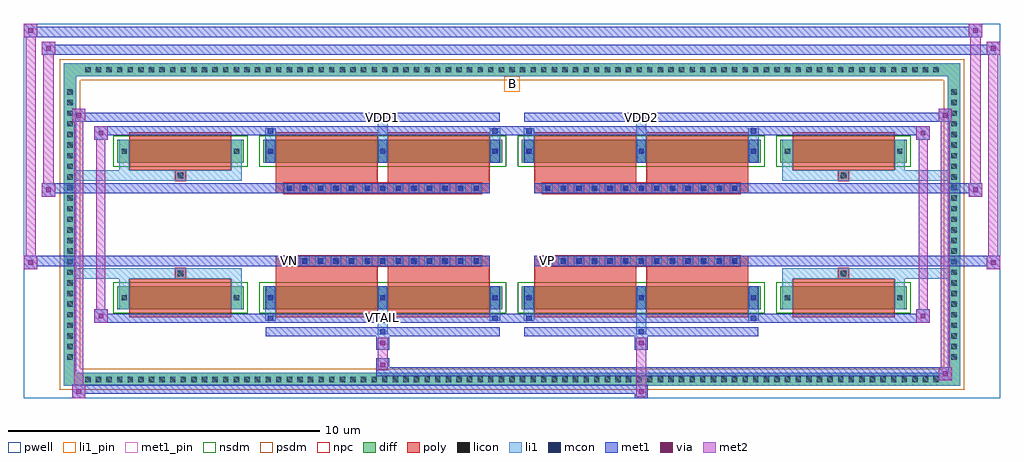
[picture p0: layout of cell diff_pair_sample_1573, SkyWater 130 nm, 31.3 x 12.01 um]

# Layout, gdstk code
import gdstk
lib = gdstk.Library(unit=1e-6, precision=5e-09)
def R(c, l, rs):  # rectangles x0, y0, x1, y1
    for r in rs: c.add(gdstk.rectangle(r[:2], r[2:], *l))
def A(c, l, x, y, w, h, nx, ny, dx, dy):  # array of equal rectangles
    R(c, l, [(x+i*dx, y+j*dy, x+i*dx+w, y+j*dy+h) for i in range(nx) for j in range(ny)])
def P(c, l, *ps):  # polygons
    for p in ps: c.add(gdstk.Polygon(p, *l))
pwell = (64, 44)
diff = (65, 20)
poly = (66, 20)
licon = (66, 44)
li1_pin = (67, 16)
li1 = (67, 20)
mcon = (67, 44)
met1_pin = (68, 16)
met1 = (68, 20)
via = (68, 44)
met2 = (69, 20)
nsdm = (93, 44)
psdm = (94, 20)
npc = (95, 20)

diff_pair_sample_1573 = lib.new_cell('diff_pair_sample_1573')
R(diff_pair_sample_1573, pwell, [(-15.65,-5.57,15.65,6.44), (-12.97,-3.76,-0.01,-0.8), (0.01,-3.76,12.97,-0.8), (-12.97,0.8,-0.01,3.76), (0.01,0.8,12.97,3.76)])
A(diff_pair_sample_1573, diff, -13.805, -5.17, 0.41, 0.41, 81, 2, 0.34, 9.93)
A(diff_pair_sample_1573, diff, -14.38, -4.455, 0.41, 0.41, 1, 26, 0, 0.34)
A(diff_pair_sample_1573, diff, 13.97, -4.455, 0.41, 0.41, 1, 26, 0, 0.34)
R(diff_pair_sample_1573, diff, [(-13.805,-5.17,13.805,-4.76), (-14.38,-4.455,-13.97,4.455), (13.97,-4.455,14.38,4.455), (-12.66,-2.715,-8.61,-1.985), (-7.97,-2.715,-0.32,-1.985), (0.32,-2.715,7.97,-1.985), (8.61,-2.715,12.66,-1.985), (-12.66,1.985,-8.61,2.715), (-7.97,1.985,-0.32,2.715), (0.32,1.985,7.97,2.715), (8.61,1.985,12.66,2.715), (-13.805,4.76,13.805,5.17)])
P(diff_pair_sample_1573, diff, [(14.38,5.17),(-14.38,5.17),(-14.38,-4.76),(-13.97,-4.76),(-13.97,4.76),(13.97,4.76),(13.97,-4.76),(-13.97,-4.76),(-14.38,-4.76),(-14.38,-5.17),(14.38,-5.17)])
A(diff_pair_sample_1573, poly, -7.31, -1.33, 0.33, 0.33, 13, 2, 0.5, 2.33)
A(diff_pair_sample_1573, poly, 0.98, -1.33, 0.33, 0.33, 13, 2, 0.5, 2.33)
R(diff_pair_sample_1573, poly, [(-12.27,-2.965,-9,-1.735), (-7.58,-2.965,-4.31,-1.735), (-3.98,-2.965,-0.71,-1.735), (0.71,-2.965,3.98,-1.735), (4.31,-2.965,7.58,-1.735), (9,-2.965,12.27,-1.735), (-10.8,-1.735,-10.47,-1.405), (-10.8,-1.735,-10.47,-1.405), (-7.58,-1.735,-4.31,-1.33), (-3.98,-1.735,-0.71,-1.33), (0.71,-1.735,3.98,-1.33), (4.31,-1.735,7.58,-1.33), (10.47,-1.735,10.8,-1.405), (10.47,-1.735,10.8,-1.405), (-7.58,-1.33,-0.71,-1), (0.71,-1.33,7.58,-1), (-7.58,1,-0.71,1.33), (0.71,1,7.58,1.33), (-7.58,1.33,-4.31,1.735), (-3.98,1.33,-0.71,1.735), (0.71,1.33,3.98,1.735), (4.31,1.33,7.58,1.735), (-10.8,1.405,-10.47,1.735), (-10.8,1.405,-10.47,1.735), (10.47,1.405,10.8,1.735), (10.47,1.405,10.8,1.735), (-12.27,1.735,-9,2.965), (-7.58,1.735,-4.31,2.965), (-3.98,1.735,-0.71,2.965), (0.71,1.735,3.98,2.965), (4.31,1.735,7.58,2.965), (9,1.735,12.27,2.965)])
A(diff_pair_sample_1573, licon, -13.685, -5.05, 0.17, 0.17, 81, 2, 0.34, 9.93)
A(diff_pair_sample_1573, licon, -14.26, -4.335, 0.17, 0.17, 1, 26, 0, 0.34)
A(diff_pair_sample_1573, licon, 14.09, -4.335, 0.17, 0.17, 1, 26, 0, 0.34)
A(diff_pair_sample_1573, licon, -7.83, -2.435, 0.17, 0.17, 3, 2, 3.6, 4.7)
A(diff_pair_sample_1573, licon, 0.46, -2.435, 0.17, 0.17, 3, 2, 3.6, 4.7)
A(diff_pair_sample_1573, licon, -7.23, -1.25, 0.17, 0.17, 13, 2, 0.5, 2.33)
A(diff_pair_sample_1573, licon, 1.06, -1.25, 0.17, 0.17, 13, 2, 0.5, 2.33)
R(diff_pair_sample_1573, licon, [(-12.52,-2.435,-12.35,-2.265), (-8.92,-2.435,-8.75,-2.265), (8.75,-2.435,8.92,-2.265), (12.35,-2.435,12.52,-2.265), (-10.72,-1.655,-10.55,-1.485), (10.55,-1.655,10.72,-1.485), (-10.72,1.485,-10.55,1.655), (10.55,1.485,10.72,1.655), (-12.52,2.265,-12.35,2.435), (-8.92,2.265,-8.75,2.435), (8.75,2.265,8.92,2.435), (12.35,2.265,12.52,2.435)])
R(diff_pair_sample_1573, li1_pin, [(-0.25,4.26,0.25,4.76)])
A(diff_pair_sample_1573, li1, -13.765, -5.13, 0.33, 0.33, 81, 2, 0.34, 9.93)
A(diff_pair_sample_1573, li1, -14.34, -4.415, 0.33, 0.33, 1, 26, 0, 0.34)
A(diff_pair_sample_1573, li1, 14.01, -4.415, 0.33, 0.33, 1, 26, 0, 0.34)
A(diff_pair_sample_1573, li1, -7.91, -2.715, 0.33, 0.73, 3, 2, 3.6, 4.7)
A(diff_pair_sample_1573, li1, 0.38, -2.715, 0.33, 0.73, 3, 2, 3.6, 4.7)
A(diff_pair_sample_1573, li1, -7.91, -2.515, 0.33, 0.33, 3, 2, 3.6, 4.7)
A(diff_pair_sample_1573, li1, 0.38, -2.515, 0.33, 0.33, 3, 2, 3.6, 4.7)
A(diff_pair_sample_1573, li1, -7.31, -1.33, 0.33, 0.33, 13, 2, 0.5, 2.33)
A(diff_pair_sample_1573, li1, 0.98, -1.33, 0.33, 0.33, 13, 2, 0.5, 2.33)
R(diff_pair_sample_1573, li1, [(-14.38,-5.17,-13.97,-4.76), (-14.38,-5.17,-13.97,-4.76), (-13.97,-5.17,13.97,-4.76), (13.97,-5.17,14.38,-4.76), (13.97,-5.17,14.38,-4.76), (-14.38,-4.76,-13.97,4.76), (13.97,-4.76,14.38,4.76), (-4.31,-3.52,-3.98,-2.715), (-4.23,-3.52,-4.06,-3.35), (3.98,-3.52,4.31,-2.715), (4.06,-3.52,4.23,-3.35), (-7.91,-3.09,-7.58,-2.715), (-7.83,-3.09,-7.66,-2.92), (-0.71,-3.09,-0.38,-2.715), (-0.63,-3.09,-0.46,-2.92), (0.38,-3.09,0.71,-2.715), (0.46,-3.09,0.63,-2.92), (7.58,-3.09,7.91,-2.715), (7.66,-3.09,7.83,-2.92), (-12.6,-2.715,-12.27,-1.985), (-9,-2.715,-8.67,-1.985), (8.67,-2.715,9,-1.985), (12.27,-2.715,12.6,-1.985), (-12.6,-2.515,-12.27,-2.185), (-9,-2.515,-8.67,-2.185), (8.67,-2.515,9,-2.185), (12.27,-2.515,12.6,-2.185), (-7.83,-2.435,-7.66,-2.265), (-7.83,-2.435,-7.66,-2.265), (-4.23,-2.435,-4.06,-2.265), (-4.23,-2.435,-4.06,-2.265), (-0.63,-2.435,-0.46,-2.265), (-0.63,-2.435,-0.46,-2.265), (0.46,-2.435,0.63,-2.265), (0.46,-2.435,0.63,-2.265), (4.06,-2.435,4.23,-2.265), (4.06,-2.435,4.23,-2.265), (7.66,-2.435,7.83,-2.265), (7.66,-2.435,7.83,-2.265), (-12.6,-1.985,-12.27,-1.405), (-9,-1.985,-8.67,-1.405), (8.67,-1.985,9,-1.405), (12.27,-1.985,12.6,-1.405), (-14.38,-1.735,-10.8,-1.405), (-12.6,-1.735,-10.8,-1.405), (-10.8,-1.735,-10.47,-1.405), (-10.47,-1.735,-8.67,-1.405), (8.67,-1.735,10.47,-1.405), (10.47,-1.735,10.8,-1.405), (10.47,-1.735,14.38,-1.405), (10.8,-1.735,12.6,-1.405), (-14.38,1.405,-10.8,1.735), (-12.6,1.405,-10.8,1.735), (-12.6,1.405,-12.27,1.985), (-10.8,1.405,-10.47,1.735), (-10.47,1.405,-8.67,1.735), (-9,1.405,-8.67,1.985), (8.67,1.405,10.47,1.735), (8.67,1.405,9,1.985), (10.47,1.405,10.8,1.735), (10.47,1.405,14.38,1.735), (10.8,1.405,12.6,1.735), (12.27,1.405,12.6,1.985), (-12.6,1.985,-12.27,2.715), (-9,1.985,-8.67,2.715), (8.67,1.985,9,2.715), (12.27,1.985,12.6,2.715), (-12.6,2.185,-12.27,2.515), (-9,2.185,-8.67,2.515), (8.67,2.185,9,2.515), (12.27,2.185,12.6,2.515), (-7.83,2.265,-7.66,2.435), (-7.83,2.265,-7.66,2.435), (-4.23,2.265,-4.06,2.435), (-4.23,2.265,-4.06,2.435), (-0.63,2.265,-0.46,2.435), (-0.63,2.265,-0.46,2.435), (0.46,2.265,0.63,2.435), (0.46,2.265,0.63,2.435), (4.06,2.265,4.23,2.435), (4.06,2.265,4.23,2.435), (7.66,2.265,7.83,2.435), (7.66,2.265,7.83,2.435), (-7.91,2.715,-7.58,3.09), (-4.31,2.715,-3.98,3.52), (-0.71,2.715,-0.38,3.09), (0.38,2.715,0.71,3.09), (3.98,2.715,4.31,3.52), (7.58,2.715,7.91,3.09), (-7.83,2.92,-7.66,3.09), (-0.63,2.92,-0.46,3.09), (0.46,2.92,0.63,3.09), (7.66,2.92,7.83,3.09), (-4.23,3.35,-4.06,3.52), (4.06,3.35,4.23,3.52), (-14.38,4.76,-13.97,5.17), (-14.38,4.76,-13.97,5.17), (-13.97,4.76,13.97,5.17), (13.97,4.76,14.38,5.17), (13.97,4.76,14.38,5.17)])
A(diff_pair_sample_1573, mcon, -7.83, -2.435, 0.17, 0.17, 3, 2, 3.6, 4.7)
A(diff_pair_sample_1573, mcon, 0.46, -2.435, 0.17, 0.17, 3, 2, 3.6, 4.7)
A(diff_pair_sample_1573, mcon, -7.23, -1.25, 0.17, 0.17, 13, 2, 0.5, 2.33)
A(diff_pair_sample_1573, mcon, 1.06, -1.25, 0.17, 0.17, 13, 2, 0.5, 2.33)
R(diff_pair_sample_1573, mcon, [(-4.23,-3.52,-4.06,-3.35), (4.06,-3.52,4.23,-3.35), (-7.83,-3.09,-7.66,-2.92), (-0.63,-3.09,-0.46,-2.92), (0.46,-3.09,0.63,-2.92), (7.66,-3.09,7.83,-2.92), (-7.83,2.92,-7.66,3.09), (-0.63,2.92,-0.46,3.09), (0.46,2.92,0.63,3.09), (7.66,2.92,7.83,3.09), (-4.23,3.35,-4.06,3.52), (4.06,3.35,4.23,3.52)])
R(diff_pair_sample_1573, met1_pin, [(-4.28,-3.13,-4.01,-2.86), (-7.28,-1.29,-7.01,-1.02), (1.01,-1.29,1.28,-1.02), (-4.28,3.31,-4.01,3.58), (4.01,3.31,4.28,3.58)])
A(diff_pair_sample_1573, met1, -7.89, -2.715, 0.29, 0.73, 3, 2, 3.6, 4.7)
A(diff_pair_sample_1573, met1, 0.4, -2.715, 0.29, 0.73, 3, 2, 3.6, 4.7)
A(diff_pair_sample_1573, met1, -7.89, -2.495, 0.29, 0.29, 3, 2, 3.6, 4.7)
A(diff_pair_sample_1573, met1, 0.4, -2.495, 0.29, 0.29, 3, 2, 3.6, 4.7)
A(diff_pair_sample_1573, met1, -7.29, -1.31, 0.29, 0.29, 13, 2, 0.5, 2.33)
A(diff_pair_sample_1573, met1, 1, -1.31, 0.29, 0.29, 13, 2, 0.5, 2.33)
R(diff_pair_sample_1573, met1, [(-14.11,-5.57,-13.68,-5.14), (3.93,-5.57,4.36,-5.14), (-14.11,-5.43,4.36,-5.14), (13.68,-5,14.11,-4.57), (-4.36,-4.86,14.11,-4.57), (-4.36,-4.72,-3.93,-4.29), (-4.36,-4.01,-3.93,-3.58), (3.93,-4.01,4.36,-3.58), (-7.89,-3.58,-0.4,-3.29), (-4.29,-3.58,-4,-3.29), (0.4,-3.58,7.89,-3.29), (4,-3.58,4.29,-3.29), (-13.4,-3.15,-12.97,-2.72), (-13.4,-3.15,-7.89,-2.86), (-7.89,-3.15,-7.6,-2.86), (-7.89,-3.15,-0.4,-2.86), (-0.69,-3.15,-0.4,-2.86), (-0.4,-3.15,0.4,-2.86), (0.4,-3.15,0.69,-2.86), (0.4,-3.15,7.89,-2.86), (7.6,-3.15,7.89,-2.86), (7.89,-3.15,13.4,-2.86), (12.97,-3.15,13.4,-2.72), (-15.65,-1.43,-15.22,-1), (15.22,-1.43,15.65,-1), (-15.65,-1.33,-0.71,-1), (-7.58,-1.33,-0.71,-1), (0.71,-1.33,7.58,-1), (0.71,-1.33,15.65,-1), (-15.08,0.9,-14.65,1.33), (14.65,0.9,15.08,1.33), (-15.08,1,-7.58,1.33), (-7.58,1,-0.71,1.33), (0.71,1,7.58,1.33), (7.58,1,15.08,1.33), (-13.4,2.72,-12.97,3.15), (12.97,2.72,13.4,3.15), (-13.4,2.86,-7.89,3.15), (-7.89,2.86,-7.6,3.15), (-7.89,2.86,-0.4,3.15), (-0.69,2.86,-0.4,3.15), (-0.4,2.86,0.4,3.15), (0.4,2.86,0.69,3.15), (0.4,2.86,7.89,3.15), (7.6,2.86,7.89,3.15), (7.89,2.86,13.4,3.15), (-14.11,3.29,-13.68,3.72), (-14.11,3.29,-7.89,3.58), (-7.89,3.29,-0.4,3.58), (-4.29,3.29,-4,3.58), (0.4,3.29,7.89,3.58), (4,3.29,4.29,3.58), (7.89,3.29,14.11,3.58), (13.68,3.29,14.11,3.72), (-15.08,5.44,-14.65,5.87), (-15.08,5.44,-12.97,5.77), (-12.97,5.44,12.97,5.77), (12.97,5.44,15.65,5.77), (15.22,5.44,15.65,5.87), (-15.65,6.01,-15.22,6.44), (-15.65,6.01,-12.97,6.34), (-12.97,6.01,12.97,6.34), (12.97,6.01,15.08,6.34), (14.65,6.01,15.08,6.44)])
R(diff_pair_sample_1573, via, [(-13.97,-5.43,-13.82,-5.28), (4.07,-5.43,4.22,-5.28), (13.82,-4.86,13.97,-4.71), (-4.22,-4.58,-4.07,-4.43), (-4.22,-3.87,-4.07,-3.72), (4.07,-3.87,4.22,-3.72), (-13.26,-3.01,-13.11,-2.86), (13.11,-3.01,13.26,-2.86), (-15.51,-1.29,-15.36,-1.14), (15.36,-1.29,15.51,-1.14), (-14.94,1.04,-14.79,1.19), (14.79,1.04,14.94,1.19), (-13.26,2.86,-13.11,3.01), (13.11,2.86,13.26,3.01), (-13.97,3.43,-13.82,3.58), (13.82,3.43,13.97,3.58), (-14.94,5.58,-14.79,5.73), (15.36,5.58,15.51,5.73), (-15.51,6.15,-15.36,6.3), (14.79,6.15,14.94,6.3)])
R(diff_pair_sample_1573, met2, [(-14.11,-5.57,-13.68,-5.14), (-14.04,-5.57,-13.75,3.72), (-13.75,-5.57,-13.68,-5.14), (-14.06,-5.52,-13.73,-5.19), (3.98,-5.52,4.31,-5.19), (3.98,-5.19,4.31,-3.96), (13.68,-5,14.11,-4.57), (13.75,-5,14.04,3.72), (14.04,-5,14.11,-4.57), (13.73,-4.95,14.06,-4.62), (-4.31,-4.67,-3.98,-4.34), (-4.31,-4.34,-3.98,-3.96), (-4.31,-3.96,-3.98,-3.63), (3.98,-3.96,4.31,-3.63), (-13.4,-3.15,-12.97,-2.72), (-13.33,-3.15,-13.04,3.15), (-13.04,-3.15,-12.97,-2.72), (12.97,-3.15,13.4,-2.72), (13.04,-3.15,13.33,3.15), (13.33,-3.15,13.4,-2.72), (-13.35,-3.1,-13.02,-2.77), (13.02,-3.1,13.35,-2.77), (-15.65,-1.43,-15.22,-1), (-15.6,-1.43,-15.27,6.44), (-15.27,-1.43,-15.22,-1), (15.22,-1.43,15.65,-1), (15.27,-1.43,15.6,5.87), (15.6,-1.43,15.65,-1), (-15.6,-1.38,-15.27,-1.05), (15.27,-1.38,15.6,-1.05), (-15.08,0.9,-14.65,1.33), (-15.03,0.9,-14.7,5.87), (-14.7,0.9,-14.65,1.33), (14.65,0.9,15.08,1.33), (14.7,0.9,15.03,6.44), (15.03,0.9,15.08,1.33), (-15.03,0.95,-14.7,1.28), (14.7,0.95,15.03,1.28), (-13.4,2.72,-12.97,3.15), (-13.04,2.72,-12.97,3.15), (12.97,2.72,13.4,3.15), (13.33,2.72,13.4,3.15), (-13.35,2.77,-13.02,3.1), (13.02,2.77,13.35,3.1), (-14.11,3.29,-13.68,3.72), (-13.75,3.29,-13.68,3.72), (13.68,3.29,14.11,3.72), (14.04,3.29,14.11,3.72), (-14.06,3.34,-13.73,3.67), (13.73,3.34,14.06,3.67), (-15.08,5.44,-14.65,5.87), (-14.7,5.44,-14.65,5.87), (15.22,5.44,15.65,5.87), (15.6,5.44,15.65,5.87), (-15.03,5.49,-14.7,5.82), (15.27,5.49,15.6,5.82), (-15.65,6.01,-15.22,6.44), (-15.27,6.01,-15.22,6.44), (14.65,6.01,15.08,6.44), (15.03,6.01,15.08,6.44), (-15.6,6.06,-15.27,6.39), (14.7,6.06,15.03,6.39)])
R(diff_pair_sample_1573, nsdm, [(-12.79,-2.845,-8.48,-1.855), (-8.1,-2.845,-0.19,-1.855), (0.19,-2.845,8.1,-1.855), (8.48,-2.845,12.79,-1.855), (-12.79,1.855,-8.48,2.845), (-8.1,1.855,-0.19,2.845), (0.19,1.855,8.1,2.845), (8.48,1.855,12.79,2.845)])
P(diff_pair_sample_1573, psdm, [(14.51,5.3),(-14.51,5.3),(-14.51,-4.63),(-13.84,-4.63),(-13.84,4.63),(13.84,4.63),(13.84,-4.63),(-13.84,-4.63),(-14.51,-4.63),(-14.51,-5.3),(14.51,-5.3)])
A(diff_pair_sample_1573, npc, -7.33, -1.35, 0.37, 0.37, 13, 2, 0.5, 2.33)
A(diff_pair_sample_1573, npc, 0.96, -1.35, 0.37, 0.37, 13, 2, 0.5, 2.33)
R(diff_pair_sample_1573, npc, [(-10.82,-1.755,-10.45,-1.385), (10.45,-1.755,10.82,-1.385), (-7.33,-1.35,-6.46,-0.98), (-7.33,-1.35,-6.46,-0.98), (-6.83,-1.35,-5.96,-0.98), (-6.83,-1.35,-5.96,-0.98), (-6.33,-1.35,-5.46,-0.98), (-6.33,-1.35,-5.46,-0.98), (-5.83,-1.35,-4.96,-0.98), (-5.83,-1.35,-4.96,-0.98), (-5.33,-1.35,-4.46,-0.98), (-5.33,-1.35,-4.46,-0.98), (-4.83,-1.35,-3.96,-0.98), (-4.83,-1.35,-3.96,-0.98), (-4.33,-1.35,-3.46,-0.98), (-4.33,-1.35,-3.46,-0.98), (-3.83,-1.35,-2.96,-0.98), (-3.83,-1.35,-2.96,-0.98), (-3.33,-1.35,-2.46,-0.98), (-3.33,-1.35,-2.46,-0.98), (-2.83,-1.35,-1.96,-0.98), (-2.83,-1.35,-1.96,-0.98), (-2.33,-1.35,-1.46,-0.98), (-2.33,-1.35,-1.46,-0.98), (-1.83,-1.35,-0.96,-0.98), (-1.83,-1.35,-0.96,-0.98), (0.96,-1.35,1.83,-0.98), (0.96,-1.35,1.83,-0.98), (1.46,-1.35,2.33,-0.98), (1.46,-1.35,2.33,-0.98), (1.96,-1.35,2.83,-0.98), (1.96,-1.35,2.83,-0.98), (2.46,-1.35,3.33,-0.98), (2.46,-1.35,3.33,-0.98), (2.96,-1.35,3.83,-0.98), (2.96,-1.35,3.83,-0.98), (3.46,-1.35,4.33,-0.98), (3.46,-1.35,4.33,-0.98), (3.96,-1.35,4.83,-0.98), (3.96,-1.35,4.83,-0.98), (4.46,-1.35,5.33,-0.98), (4.46,-1.35,5.33,-0.98), (4.96,-1.35,5.83,-0.98), (4.96,-1.35,5.83,-0.98), (5.46,-1.35,6.33,-0.98), (5.46,-1.35,6.33,-0.98), (5.96,-1.35,6.83,-0.98), (5.96,-1.35,6.83,-0.98), (6.46,-1.35,7.33,-0.98), (6.46,-1.35,7.33,-0.98), (-7.33,0.98,-6.46,1.35), (-7.33,0.98,-6.46,1.35), (-6.83,0.98,-5.96,1.35), (-6.83,0.98,-5.96,1.35), (-6.33,0.98,-5.46,1.35), (-6.33,0.98,-5.46,1.35), (-5.83,0.98,-4.96,1.35), (-5.83,0.98,-4.96,1.35), (-5.33,0.98,-4.46,1.35), (-5.33,0.98,-4.46,1.35), (-4.83,0.98,-3.96,1.35), (-4.83,0.98,-3.96,1.35), (-4.33,0.98,-3.46,1.35), (-4.33,0.98,-3.46,1.35), (-3.83,0.98,-2.96,1.35), (-3.83,0.98,-2.96,1.35), (-3.33,0.98,-2.46,1.35), (-3.33,0.98,-2.46,1.35), (-2.83,0.98,-1.96,1.35), (-2.83,0.98,-1.96,1.35), (-2.33,0.98,-1.46,1.35), (-2.33,0.98,-1.46,1.35), (-1.83,0.98,-0.96,1.35), (-1.83,0.98,-0.96,1.35), (0.96,0.98,1.83,1.35), (0.96,0.98,1.83,1.35), (1.46,0.98,2.33,1.35), (1.46,0.98,2.33,1.35), (1.96,0.98,2.83,1.35), (1.96,0.98,2.83,1.35), (2.46,0.98,3.33,1.35), (2.46,0.98,3.33,1.35), (2.96,0.98,3.83,1.35), (2.96,0.98,3.83,1.35), (3.46,0.98,4.33,1.35), (3.46,0.98,4.33,1.35), (3.96,0.98,4.83,1.35), (3.96,0.98,4.83,1.35), (4.46,0.98,5.33,1.35), (4.46,0.98,5.33,1.35), (4.96,0.98,5.83,1.35), (4.96,0.98,5.83,1.35), (5.46,0.98,6.33,1.35), (5.46,0.98,6.33,1.35), (5.96,0.98,6.83,1.35), (5.96,0.98,6.83,1.35), (6.46,0.98,7.33,1.35), (6.46,0.98,7.33,1.35), (-10.82,1.385,-10.45,1.755), (10.45,1.385,10.82,1.755)])
diff_pair_sample_1573.add(gdstk.Label('VTAIL', (-4.145,-2.995), layer=68, texttype=5))
diff_pair_sample_1573.add(gdstk.Label('VN', (-7.145,-1.155), layer=68, texttype=5))
diff_pair_sample_1573.add(gdstk.Label('VP', (1.145,-1.155), layer=68, texttype=5))
diff_pair_sample_1573.add(gdstk.Label('B', (0,4.51), layer=67, texttype=5))
diff_pair_sample_1573.add(gdstk.Label('VDD2', (4.145,3.445), layer=68, texttype=5))
diff_pair_sample_1573.add(gdstk.Label('VDD1', (-4.145,3.445), layer=68, texttype=5))

lib.write_gds('diff_pair_sample_1573.gds')
